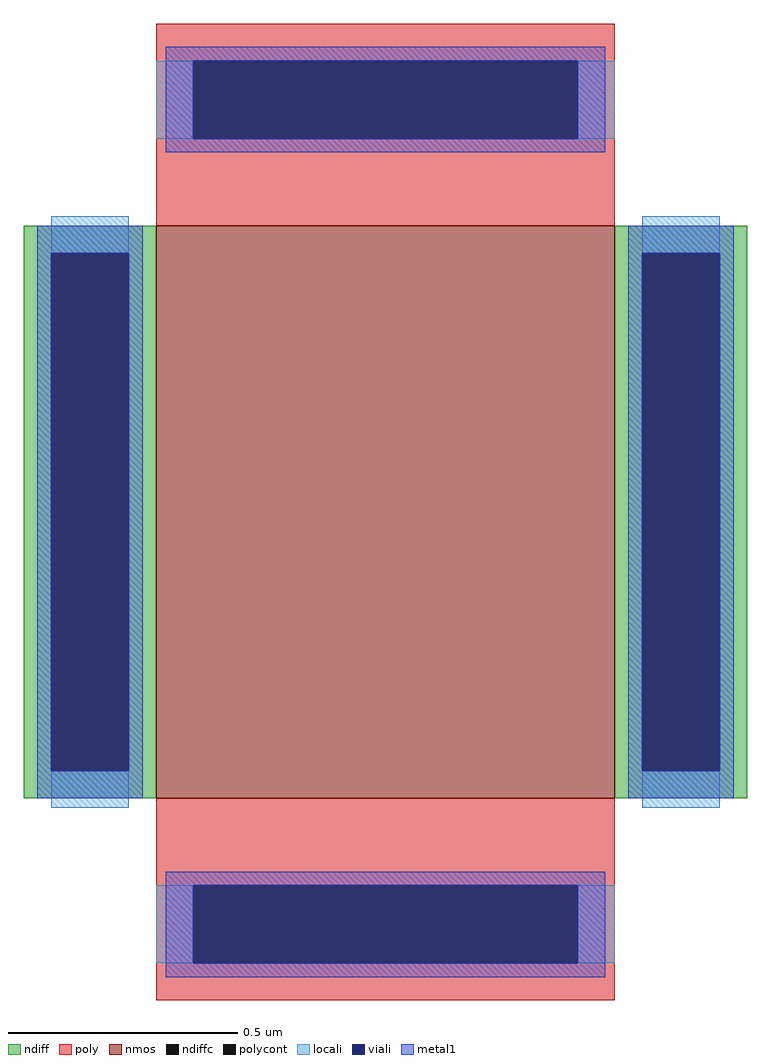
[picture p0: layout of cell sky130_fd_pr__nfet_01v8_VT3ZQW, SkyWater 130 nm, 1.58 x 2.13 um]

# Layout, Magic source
magic
tech sky130A
magscale 1 2
<< nmos >>
rect -100 -125 100 125
<< ndiff >>
rect -158 113 -100 125
rect -158 -113 -146 113
rect -112 -113 -100 113
rect -158 -125 -100 -113
rect 100 113 158 125
rect 100 -113 112 113
rect 146 -113 158 113
rect 100 -125 158 -113
<< ndiffc >>
rect -146 -113 -112 113
rect 112 -113 146 113
<< poly >>
rect -100 197 100 213
rect -100 163 -84 197
rect 84 163 100 197
rect -100 125 100 163
rect -100 -163 100 -125
rect -100 -197 -84 -163
rect 84 -197 100 -163
rect -100 -213 100 -197
<< polycont >>
rect -84 163 84 197
rect -84 -197 84 -163
<< locali >>
rect -100 163 -84 197
rect 84 163 100 197
rect -146 113 -112 129
rect -146 -129 -112 -113
rect 112 113 146 129
rect 112 -129 146 -113
rect -100 -197 -84 -163
rect 84 -197 100 -163
<< viali >>
rect -84 163 84 197
rect -146 -113 -112 113
rect 112 -113 146 113
rect -84 -197 84 -163
<< metal1 >>
rect -96 197 96 203
rect -96 163 -84 197
rect 84 163 96 197
rect -96 157 96 163
rect -152 113 -106 125
rect -152 -113 -146 113
rect -112 -113 -106 113
rect -152 -125 -106 -113
rect 106 113 152 125
rect 106 -113 112 113
rect 146 -113 152 113
rect 106 -125 152 -113
rect -96 -163 96 -157
rect -96 -197 -84 -163
rect 84 -197 96 -163
rect -96 -203 96 -197
<< properties >>
string gencell sky130_fd_pr__nfet_01v8
string library sky130
string parameters w 1.25 l 1.0 m 1 nf 1 diffcov 100 polycov 100 guard 0 glc 1 grc 1 gtc 1 gbc 1 tbcov 100 rlcov 100 topc 1 botc 1 poverlap 0 doverlap 1 lmin 0.15 wmin 0.42 compatible {sky130_fd_pr__nfet_01v8 sky130_fd_pr__nfet_01v8_lvt  sky130_fd_bs_flash__special_sonosfet_star  sky130_fd_pr__nfet_g5v0d10v5 sky130_fd_pr__nfet_05v0_nvt  sky130_fd_pr__nfet_03v3_nvt} full_metal 1 viasrc 100 viadrn 100 viagate 100 viagb 0 viagr 0 viagl 0 viagt 0
<< end >>
